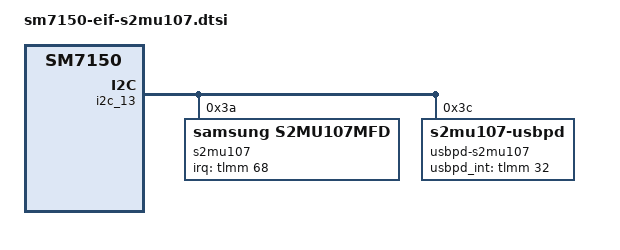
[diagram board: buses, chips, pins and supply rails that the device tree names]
/* r00 */
&i2c_13 {
	s2mu107@3A {
		status = "okay";
		compatible = "samsung,s2mu107mfd";
		reg = <0x3A>;
		pinctrl-names = "default";
		pinctrl-0 = <&if_pmic_irq>;
		s2mu107,irq-gpio = <&tlmm 68 0>;
		s2mu107,wakeup;
	};
		
	usbpd-s2mu107@3C {
		status = "okay";
		compatible = "s2mu107-usbpd";
		reg = <0x3C>;
		pinctrl-names = "default";
		pinctrl-0     = <&usbpd_irq>;
		usbpd,usbpd_int = <&tlmm 32 0>;
	};
};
